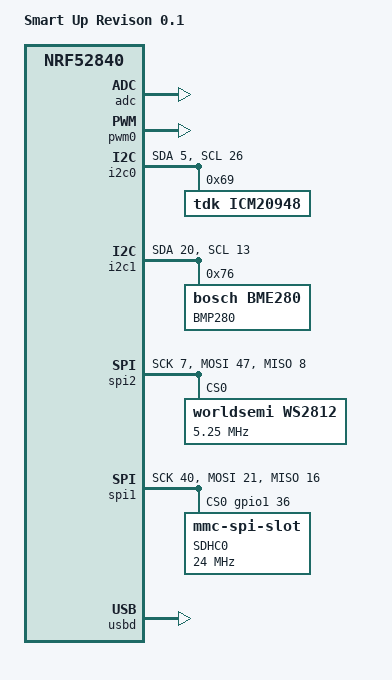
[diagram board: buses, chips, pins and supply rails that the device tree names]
/*
 * Copyright (c) 2017 Linaro Limited
 *
 * SPDX-License-Identifier: Apache-2.0
 */

/dts-v1/;
#include <nordic/nrf52840_qiaa.dtsi>

/ {
	model = "Smart Up Revison 0.1";
	compatible = "nordic,smart_up_0_1", "nordic,nrf52840-qiaa",
		     "nordic,nrf52840";

	chosen {
		zephyr,sram = &sram0;
		zephyr,flash = &flash0;
		zephyr,code-partition = &slot0_partition;
	};

	/* These aliases are provided for compatibility with samples */
	aliases {
		buzzer = &pwm0;
		neo-pixel = &spi1;
	};
};

&adc {
	status ="ok";
};

&gpiote {
	status ="ok";
};

&gpio0 {
	status ="ok";
};

&gpio1 {
	status ="ok";
};


&pwm0 {
	status = "ok";
	ch0-pin = <15>;
	ch0-inverted;
};


&i2c0 {
	status = "ok";
	sda-pin = <5>;
	scl-pin = <26>;
	icm20948@69{
        compatible = "tdk,icm20948";
        reg = <0x69>;
        label = "icm20948";
    };
};

&i2c1 {
//	status = "ok";
	sda-pin = <20>;
	scl-pin = <13>;
	bmp280@76 {
        compatible = "bosch,bme280";
        reg = <0x76>;
        label = "BMP280";
    };
};


&spi2 {
	status = "ok";
	sck-pin = <7>;
	mosi-pin = <47>;
	miso-pin = <8>;
	ws2812@0 {
		compatible = "worldsemi,ws2812";
		reg = <0>;
		spi-max-frequency = <5250000>;
		label = "WS2812";
	};
};

&spi1 {
    status = "ok";
    sck-pin = <40>;
    mosi-pin = <21>;
    miso-pin = <16>;
    cs-gpios = <&gpio1 36 0>;

    sdhc0: sdhc@0 {
        compatible = "zephyr,mmc-spi-slot";
        reg = <0>;
        status = "ok";
        label = "SDHC0";
        spi-max-frequency = <24000000>;
    };
};

&flash0 {
	/*
	 * For more information, see:
	 * http://docs.zephyrproject.org/latest/guides/dts/index.html#flash-partitions
	 */
	partitions {
		compatible = "fixed-partitions";
		#address-cells = <1>;
		#size-cells = <1>;

		boot_partition: partition@0 {
			label = "mcuboot";
			reg = <0x000000000 0x0000C000>;
		};
		slot0_partition: partition@c000 {
			label = "image-0";
			reg = <0x0000C000 0x000067000>;
		};
		slot1_partition: partition@73000 {
			label = "image-1";
			reg = <0x00073000 0x000067000>;
		};
		scratch_partition: partition@da000 {
			label = "image-scratch";
			reg = <0x000da000 0x0001e000>;
		};

		/*
		 * The flash starting at 0x000f8000 and ending at
		 * 0x000fffff is reserved for use by the application.
		 */

		/* Storage partition will be used by FCB/NFFS/NVS if enabled. */
		storage_partition: partition@f8000 {
			label = "storage";
			reg = <0x000f8000 0x00008000>;
		};
	};
};

&usbd {
	compatible = "nordic,nrf-usbd";
	status = "ok";
};
